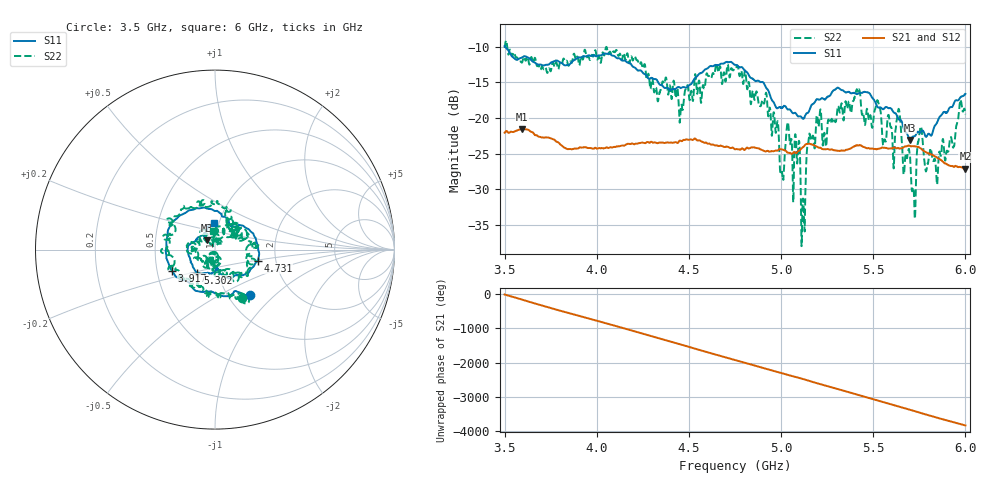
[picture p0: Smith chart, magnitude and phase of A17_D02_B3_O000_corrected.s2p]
! Created with skrf 1.9.0 (http://scikit-rf.org).
# Hz S RI R 50.0
!freq ReS11 ImS11 ReS21 ImS21 ReS12 ImS12 ReS22 ImS22
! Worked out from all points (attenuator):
!   1601 points, 3.5 GHz to 6 GHz, reference 50 ohm
!   highest |S21| = -21.53 dB at 3.592 GHz (marker M1); lowest = -27.1 dB at 6 GHz (marker M2)
!   lowest |S11| = -23.1 dB at 5.698 GHz (marker M3), VSWR 1.15, Z = 45.3 + j4.75 ohm
!   |S11| at or under -10 dB: 3.503 GHz to end of sweep
!   |S22| runs from -38.0 to -9.1 dB; largest |S21 - S12| = 0.00099
!   S11 on the Smith chart (normalised r, x): 3.5 GHz: 1.26, -0.71; 3.917 GHz: 0.60, -0.15; 4.731 GHz: 1.61, -0.21; 5.302 GHz: 0.80, -0.21; 6 GHz: 0.94, +0.28
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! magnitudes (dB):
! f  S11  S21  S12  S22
! 3.5 GHz  -9.9  -22.0  -22.0  -10.2
! 3.592 GHz  -11.5  -21.5  -21.5  -12.2
! 3.917 GHz  -11.5  -24.1  -24.1  -11.3
! 4.211 GHz  -13.0  -23.6  -23.6  -11.6
! 4.334 GHz  -15.1  -23.5  -23.4  -17.3
! 4.731 GHz  -12.2  -24.2  -24.1  -13.0
! 4.75 GHz  -12.5  -24.4  -24.3  -12.9
! 4.927 GHz  -16.0  -24.6  -24.6  -18.6
! 5.005 GHz  -18.5  -24.4  -24.4  -27.5
! 5.034 GHz  -18.8  -24.8  -24.7  -20.8
! 5.088 GHz  -19.6  -24.8  -24.8  -26.4
! 5.119 GHz  -20.1  -24.1  -24.0  -31.3
! 5.167 GHz  -18.1  -23.7  -23.7  -23.0
! 5.302 GHz  -15.8  -24.6  -24.5  -19.8
! 5.416 GHz  -16.6  -23.8  -23.9  -16.3
! 5.584 GHz  -18.6  -24.3  -24.3  -19.6
! 5.638 GHz  -20.1  -24.2  -24.2  -18.7
! 5.698 GHz  -23.1  -23.9  -23.9  -25.0
! 5.719 GHz  -22.6  -24.0  -23.9  -30.0
! 5.753 GHz  -22.1  -24.2  -24.1  -21.8
! 5.841 GHz  -20.9  -25.4  -25.4  -27.2
! 6 GHz  -16.6  -27.1  -27.0  -19.5
